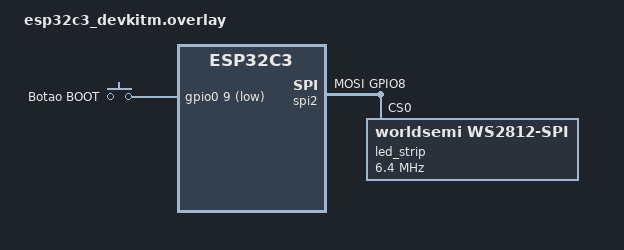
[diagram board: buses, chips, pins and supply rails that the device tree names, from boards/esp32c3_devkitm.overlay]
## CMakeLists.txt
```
cmake_minimum_required(VERSION 3.20.0)
find_package(Zephyr REQUIRED HINTS $ENV{ZEPHYR_BASE})
project(campainha_silenciosa)

target_sources(app PRIVATE
	src/main.c
	src/button.c
	src/ble_bell.c
	src/hist.c
)
```

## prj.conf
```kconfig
CONFIG_SETTINGS=y
CONFIG_NVS=y
CONFIG_FLASH=y
CONFIG_FLASH_MAP=y
CONFIG_SETTINGS_NVS=y
CONFIG_ZBUS=y
CONFIG_SHELL=y
CONFIG_LOG=y
CONFIG_GPIO=y
CONFIG_GPIO_SHELL=y


CONFIG_BT=y
CONFIG_BT_PERIPHERAL=y
CONFIG_BT_DEVICE_NAME="Campainha"
CONFIG_BT_MAX_CONN=1
CONFIG_BT_GATT_DYNAMIC_DB=y
CONFIG_INPUT=y
CONFIG_INPUT_GPIO_KEYS=y
CONFIG_ZBUS=y
CONFIG_LOG=y
CONFIG_MAIN_STACK_SIZE=4096
CONFIG_SYSTEM_WORKQUEUE_STACK_SIZE=4096

# --- LED WS2812 via driver oficial ---
CONFIG_SPI=y
CONFIG_LED_STRIP=y

# --- DESATIVAR ECONOMIA DE ENERGIA ---
CONFIG_PM=n
CONFIG_PM_DEVICE=n

# --- MELHORAR A ESTABILIDADE DO BLUETOOTH ---
# Aumenta o número de buffers para pacotes L2CAP
CONFIG_BT_L2CAP_TX_BUF_COUNT=5

# Aumenta o tempo limite de supervisão da conexão
# Unidade: 10ms. Ex: 500 = 5 segundos. (Máximo: 3200)
CONFIG_BT_PERIPHERAL_PREF_MIN_INT=24
CONFIG_BT_PERIPHERAL_PREF_MAX_INT=40
CONFIG_BT_PERIPHERAL_PREF_LATENCY=0
CONFIG_BT_PERIPHERAL_PREF_TIMEOUT=1000
```

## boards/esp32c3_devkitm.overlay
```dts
#include <zephyr/dt-bindings/gpio/gpio.h>
#include <zephyr/dt-bindings/input/input-event-codes.h>
#include <zephyr/dt-bindings/led/led.h>

&pinctrl {
	spim2_ws2812: spim2_ws2812 {
		group1 {
			pinmux = <SPIM2_MOSI_GPIO8>;
			output-low;
		};
	};
};

&spi2 {
	#address-cells = <1>;
	#size-cells = <0>;
	status = "okay";
	pinctrl-0 = <&spim2_ws2812>;
	pinctrl-names = "default";
	line-idle-low;

	led_strip: ws2812@0 {
		compatible = "worldsemi,ws2812-spi";
		reg = <0>;
		spi-max-frequency = <6400000>;
		chain-length = <1>;
		spi-one-frame = <0xf0>;
		spi-zero-frame = <0xc0>;
		color-mapping = <LED_COLOR_ID_GREEN
				 LED_COLOR_ID_RED
				 LED_COLOR_ID_BLUE>;
	};
};

/ {
	aliases {
		sw1 = &button0_node;
		led-strip = &led_strip;
	};

	buttons: buttons {
		compatible = "gpio-keys";
		status = "okay";

		button0_node: button_0 {
			gpios = <&gpio0 9 (GPIO_PULL_UP | GPIO_ACTIVE_LOW)>;
			zephyr,code = <INPUT_KEY_0>;
			label = "Botao BOOT";
		};
	};

	longpress: longpress {
		compatible = "zephyr,input-longpress";
		status = "okay";
		input = <&buttons>;
		input-codes = <INPUT_KEY_0>;
		short-codes = <INPUT_KEY_A>;
		long-codes  = <INPUT_KEY_B>;
		long-delay-ms = <800>;
	};
};
```

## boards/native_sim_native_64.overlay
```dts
/ {
	aliases {
		sw1 = &button1;
	};

	gpio_emul: gpio_emul {
		status = "okay";
		compatible = "zephyr,gpio-emul";
		gpio-controller;
		#gpio-cells = <2>;
	};

	buttons {
		compatible = "gpio-keys";
		button1: button_1 {
			gpios = <&gpio_emul 1 GPIO_ACTIVE_LOW>;
			label = "Botao extra";
		};
	};
};
```

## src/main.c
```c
/*
 * Copyright (c) 2026
 * SPDX-License-Identifier: Apache-2.0
 *
 * Aplicacao principal da campainha silenciosa.
 */

#include <errno.h>
#include <stdbool.h>
#include <stddef.h>
#include <stdint.h>
#include <stdlib.h>
#include <string.h>
#include <time.h>

#include <zephyr/kernel.h>
#include <zephyr/device.h>
#include <zephyr/drivers/led_strip.h>
#include <zephyr/logging/log.h>
#include <zephyr/settings/settings.h>
#include <zephyr/shell/shell.h>
#include <zephyr/sys/atomic.h>
#include <zephyr/zbus/zbus.h>

#include "hist.h"
#include "msgs.h"

LOG_MODULE_REGISTER(campainha, LOG_LEVEL_INF);

#define BLINK_URGENT_MS 200
#define BLINK_CALM_MS   800

/* Bits do flag de "o que salvar" no work deferido. */
#define SAVE_BIT_BELL 0
#define SAVE_BIT_DND  1
#define SAVE_BIT_HIST 2

/* Estado global. */
static bool bell_active;
static bool do_not_disturb;

/* Offset entre o relogio de parede (epoch em segundos) e o uptime local.
 * Fica em zero ate o usuario rodar `time set <epoch>` no shell.
 */
static int64_t epoch_offset_s;

/* Padrao do LED e nivel atual (piscando entre ligado/desligado). */
enum led_pattern {
	LED_PAT_OFF,
	LED_PAT_URGENT,
	LED_PAT_CALM,
};

static enum led_pattern led_pat;
static bool led_on_state;
static struct k_work_delayable blink_work;

/* Save deferido: listeners marcam bits e agendam; o handler faz o
 * settings_save_one no system workqueue, que tem pilha grande.
 * Isso evita estourar o stack do thread bt_tx_processor.
 */
static struct k_work save_work;
static atomic_t save_flags;

/* LED WS2812 declarado no devicetree via alias led-strip. */
static const struct device *const led_strip_dev = DEVICE_DT_GET(DT_ALIAS(led_strip));

/* Rotulos legiveis para logs. */
static const char *on_off_str(bool v)
{
	if (v) {
		return "ON";
	}
	return "OFF";
}

/* Padrao do LED em repouso: sempre apagado.
 * Em DND o LED permanece desligado (alertas sao ignorados);
 * fora de DND, sem alerta ativo, tambem fica apagado.
 */
static enum led_pattern idle_pattern(void)
{
	return LED_PAT_OFF;
}

/* Retorna o horario atual em segundos desde 1970 (epoch).
 * Se o usuario ainda nao ajustou o relogio, retorna apenas os
 * segundos desde o boot (o que sera mostrado como uma data de 1970).
 */
static int64_t now_epoch_s(void)
{
	return epoch_offset_s + (k_uptime_get() / 1000);
}

/* Escreve uma cor RGB no unico pixel da strip. */
static void led_hw(uint8_t r, uint8_t g, uint8_t b)
{
	struct led_rgb pixel = {
		.r = r,
		.g = g,
		.b = b,
	};

	led_strip_update_rgb(led_strip_dev, &pixel, 1);
}

/* Retorna o intervalo (em ms) do padrao ativo. */
static uint32_t pattern_interval_ms(enum led_pattern p)
{
	if (p == LED_PAT_URGENT) {
		return BLINK_URGENT_MS;
	}
	return BLINK_CALM_MS;
}

/* Alterna o LED e reagenda conforme o padrao ativo. */
static void blink_work_handler(struct k_work *work)
{
	uint8_t red;

	ARG_UNUSED(work);

	if (led_pat == LED_PAT_OFF) {
		led_hw(0, 0, 0);
		return;
	}

	led_on_state = !led_on_state;

	red = 0;
	if (led_on_state) {
		red = 255;
	}
	led_hw(red, 0, 0);

	k_work_reschedule(&blink_work, K_MSEC(pattern_interval_ms(led_pat)));
}

/* Troca o padrao do LED e dispara o handler agora. */
static void led_set_pattern(enum led_pattern p)
{
	led_pat = p;
	led_on_state = false;
	k_work_reschedule(&blink_work, K_NO_WAIT);
}

/* Handler do save deferido: consome os flags e faz as escritas NVS.
 * Roda no system workqueue (pilha CONFIG_SYSTEM_WORKQUEUE_STACK_SIZE).
 */
static void save_work_handler(struct k_work *work)
{
	atomic_val_t flags = atomic_clear(&save_flags);

	ARG_UNUSED(work);

	if (flags & BIT(SAVE_BIT_BELL)) {
		settings_save_one("campainha/bell", &bell_active,
				  sizeof(bell_active));
	}
	if (flags & BIT(SAVE_BIT_DND)) {
		settings_save_one("campainha/dnd", &do_not_disturb,
				  sizeof(do_not_disturb));
	}
	if (flags & BIT(SAVE_BIT_HIST)) {
		settings_save_one("campainha/hist", &hist_state,
				  sizeof(hist_state));
	}
}

/* Marcam o que deve ser salvo e delegam ao system workqueue. */
static void save_bell(void)
{
	atomic_set_bit(&save_flags, SAVE_BIT_BELL);
	k_work_submit(&save_work);
}

static void save_dnd(void)
{
	atomic_set_bit(&save_flags, SAVE_BIT_DND);
	k_work_submit(&save_work);
}

static void save_hist(void)
{
	atomic_set_bit(&save_flags, SAVE_BIT_HIST);
	k_work_submit(&save_work);
}

/* Handler do settings: restaura bell, dnd e historico do storage. */
static int campainha_settings_set(const char *name, size_t len,
				  settings_read_cb read_cb, void *cb_arg)
{
	if (settings_name_steq(name, "bell", NULL) && len == sizeof(bell_active)) {
		read_cb(cb_arg, &bell_active, sizeof(bell_active));
		return 0;
	}
	if (settings_name_steq(name, "dnd", NULL) && len == sizeof(do_not_disturb)) {
		read_cb(cb_arg, &do_not_disturb, sizeof(do_not_disturb));
		return 0;
	}
	if (settings_name_steq(name, "hist", NULL) && len == sizeof(hist_state)) {
		read_cb(cb_arg, &hist_state, sizeof(hist_state));
		return 0;
	}
	return -ENOENT;
}

SETTINGS_STATIC_HANDLER_DEFINE(campainha, "campainha", NULL,
			       campainha_settings_set, NULL, NULL);

/* Canal ZBUS: toque da campainha (BLE ou shell). */
ZBUS_CHAN_DEFINE(ring_chan, struct ring_msg, NULL, NULL,
		 ZBUS_OBSERVERS_EMPTY, ZBUS_MSG_INIT(.pressed = false));

/* Policy: em DND registra ignorado; senao acende LED urgente. */
static void ring_listener_cb(const struct zbus_channel *chan)
{
	const struct ring_msg *msg = zbus_chan_const_msg(chan);

	if (!msg->pressed) {
		return;
	}

	if (do_not_disturb) {
		LOG_INF("Toque ignorado (DND ativo)");
		hist_add(now_epoch_s(), true);
		save_hist();
		return;
	}

	bell_active = true;
	LOG_INF("Campainha acionada, LED URGENTE");
	led_set_pattern(LED_PAT_URGENT);
	hist_add(now_epoch_s(), false);
	save_hist();
	save_bell();
}

ZBUS_LISTENER_DEFINE(ring_listener, ring_listener_cb);
ZBUS_CHAN_ADD_OBS(ring_chan, ring_listener, 0);

/* Toque longo alterna DND; curto silencia o alerta ativo. */
static void btn_listener_cb(const struct zbus_channel *chan)
{
	const struct btn_evt *evt = zbus_chan_const_msg(chan);

	if (evt->long_press) {
		do_not_disturb = !do_not_disturb;
		LOG_INF("DND: %s", on_off_str(do_not_disturb));
		led_set_pattern(idle_pattern());
		save_dnd();
		return;
	}

	if (bell_active) {
		LOG_INF("Silenciando alerta");
		bell_active = false;
		led_set_pattern(idle_pattern());
		save_bell();
	}
}

ZBUS_LISTENER_DEFINE(main_btn_listener, btn_listener_cb);
ZBUS_CHAN_ADD_OBS(btn_chan, main_btn_listener, 0);

/* Shell: publica um toque simulado no ring_chan. */
static int cmd_ring(const struct shell *sh, size_t argc, char **argv)
{
	struct ring_msg msg = {
		.pressed = true,
	};

	ARG_UNUSED(argc);
	ARG_UNUSED(argv);

	shell_print(sh, "Publicando toque...");
	return zbus_chan_pub(&ring_chan, &msg, K_MSEC(100));
}

/* Shell: apaga o LED e limpa o alerta. */
static int cmd_off(const struct shell *sh, size_t argc, char **argv)
{
	ARG_UNUSED(argc);
	ARG_UNUSED(argv);

	bell_active = false;
	led_set_pattern(idle_pattern());
	save_bell();
	shell_print(sh, "Alerta limpo");
	return 0;
}

/* Shell: "mode" mostra estado; "mode dnd" alterna DND. */
static int cmd_mode(const struct shell *sh, size_t argc, char **argv)
{
	if (argc >= 2 && strcmp(argv[1], "dnd") == 0) {
		do_not_disturb = !do_not_disturb;
		led_set_pattern(idle_pattern());
		save_dnd();
	}
	shell_print(sh, "DND=%s bell=%s",
		    on_off_str(do_not_disturb),
		    on_off_str(bell_active));
	return 0;
}

/* Shell: `time` mostra hora atual, `time set <epoch>` ajusta relogio.
 * Uso tipico no PC: date +%s (retorna o epoch em segundos UTC).
 */
static int cmd_time(const struct shell *sh, size_t argc, char **argv)
{
	time_t now;
	struct tm cal;
	char buf[32];

	if (argc >= 3 && strcmp(argv[1], "set") == 0) {
		int64_t epoch = strtoll(argv[2], NULL, 10);

		epoch_offset_s = epoch - (k_uptime_get() / 1000);
		shell_print(sh, "Horario ajustado");
		return 0;
	}

	now = (time_t)now_epoch_s();
	gmtime_r(&now, &cal);
	strftime(buf, sizeof(buf), "%Y-%m-%d %H:%M:%S UTC", &cal);
	shell_print(sh, "Agora: %s", buf);
	return 0;
}

/* Rotulo legivel para uma entrada do historico. */
static const char *hist_label(const struct hist_entry *e)
{
	if (e->ignored) {
		return "ignorado";
	}
	return "alertado";
}

/* Shell: lista o historico do mais antigo (0) para o mais recente. */
static int cmd_hist(const struct shell *sh, size_t argc, char **argv)
{
	ARG_UNUSED(argc);
	ARG_UNUSED(argv);

	if (hist_len() == 0) {
		shell_print(sh, "Historico vazio");
		return 0;
	}

	for (size_t i = 0; i < hist_len(); i++) {
		const struct hist_entry *e = hist_get(i);
		time_t t = (time_t)e->ms;
		struct tm cal;
		char buf[32];

		gmtime_r(&t, &cal);
		strftime(buf, sizeof(buf), "%Y-%m-%d %H:%M:%S UTC", &cal);
		shell_print(sh, "[%u] %s %s",
			    (unsigned int)i, buf, hist_label(e));
	}
	return 0;
}

SHELL_CMD_REGISTER(ring, NULL, "Simula toque BLE",               cmd_ring);
SHELL_CMD_REGISTER(off,  NULL, "Apaga LED e limpa alerta",       cmd_off);
SHELL_CMD_REGISTER(mode, NULL, "mode [dnd]: mostra/alterna DND", cmd_mode);
SHELL_CMD_REGISTER(hist, NULL, "Lista o historico",              cmd_hist);
SHELL_CMD_REGISTER(time, NULL, "time | time set <epoch>",        cmd_time);

/* Restaura o padrao do LED depois de carregar o estado do settings.
 * Se havia um alerta ativo (bell) antes do reset, retoma o padrao urgente.
 * Em qualquer outro caso (inclusive DND) o LED fica apagado.
 */
static void restore_led_pattern(void)
{
	if (bell_active) {
		led_set_pattern(LED_PAT_URGENT);
	}
}

/* Inicializa LED, carrega settings e restaura padrao coerente. */
int main(void)
{
	LOG_INF("Campainha silenciosa iniciada");

	if (!device_is_ready(led_strip_dev)) {
		LOG_ERR("LED strip nao esta pronto");
		return -ENODEV;
	}

	k_work_init_delayable(&blink_work, blink_work_handler);
	k_work_init(&save_work, save_work_handler);
	led_hw(0, 0, 0);

	settings_subsys_init();
	settings_load();

	LOG_INF("Estado: bell=%d dnd=%d hist=%u",
		bell_active, do_not_disturb, hist_state.count);

	restore_led_pattern();

	return 0;
}
```

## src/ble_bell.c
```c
/*
 * Copyright (c) 2026
 * SPDX-License-Identifier: Apache-2.0
 *
 * Servico GATT da campainha silenciosa.
 *
 * Expoe uma caracteristica de escrita que, ao ser acionada por um
 * cliente BLE, publica uma mensagem de toque no canal ZBUS ring_chan.
 */

#include <stdbool.h>
#include <stddef.h>
#include <stdint.h>

#include <zephyr/bluetooth/bluetooth.h>
#include <zephyr/bluetooth/conn.h>
#include <zephyr/bluetooth/gatt.h>
#include <zephyr/bluetooth/uuid.h>
#include <zephyr/kernel.h>
#include <zephyr/logging/log.h>
#include <zephyr/sys/util.h>
#include <zephyr/zbus/zbus.h>

#include "msgs.h"

LOG_MODULE_REGISTER(ble_bell, LOG_LEVEL_INF);

#define DEVICE_NAME     "Campainha"
#define DEVICE_NAME_LEN (sizeof(DEVICE_NAME) - 1)

#define RING_PUB_TIMEOUT K_MSEC(100)

#define BT_UUID_BELL_SVC_VAL \
	BT_UUID_128_ENCODE(0x12345678, 0x1234, 0x5678, 0x1234, 0x56789abcdef0)
#define BT_UUID_BELL_RING_VAL \
	BT_UUID_128_ENCODE(0x12345678, 0x1234, 0x5678, 0x1234, 0x56789abcdef1)

static struct bt_uuid_128 bell_svc_uuid = BT_UUID_INIT_128(BT_UUID_BELL_SVC_VAL);
static struct bt_uuid_128 bell_ring_uuid = BT_UUID_INIT_128(BT_UUID_BELL_RING_VAL);

/* Callback do GATT: qualquer escrita nesse atributo gera um toque no zbus. */
static ssize_t on_ring_write(struct bt_conn *conn,
			     const struct bt_gatt_attr *attr,
			     const void *buf, uint16_t len,
			     uint16_t offset, uint8_t flags)
{
	struct ring_msg msg = { .pressed = true };
	int err;

	ARG_UNUSED(conn);
	ARG_UNUSED(attr);
	ARG_UNUSED(buf);
	ARG_UNUSED(offset);
	ARG_UNUSED(flags);

	LOG_INF("BLE: escrita recebida (%u bytes) -> publicando toque", len);

	err = zbus_chan_pub(&ring_chan, &msg, RING_PUB_TIMEOUT);
	if (err) {
		LOG_ERR("Falha ao publicar toque (err %d)", err);
	}

	return len;
}

BT_GATT_SERVICE_DEFINE(bell_svc,
	BT_GATT_PRIMARY_SERVICE(&bell_svc_uuid),
	BT_GATT_CHARACTERISTIC(&bell_ring_uuid.uuid,
			       BT_GATT_CHRC_WRITE,
			       BT_GATT_PERM_WRITE,
			       NULL, on_ring_write, NULL),
);

static const struct bt_data ad[] = {
	BT_DATA_BYTES(BT_DATA_FLAGS, (BT_LE_AD_GENERAL | BT_LE_AD_NO_BREDR)),
	BT_DATA(BT_DATA_NAME_COMPLETE, DEVICE_NAME, DEVICE_NAME_LEN),
};

static const struct bt_data sd[] = {
	BT_DATA_BYTES(BT_DATA_UUID128_ALL, BT_UUID_BELL_SVC_VAL),
};

/* Log de conexao aceita. */
static void on_connected(struct bt_conn *conn, uint8_t err)
{
	ARG_UNUSED(conn);

	if (err) {
		LOG_ERR("Falha ao conectar (err %u)", err);
		return;
	}

	LOG_INF("BLE: cliente conectado");
}

/* Ao desconectar, volta a anunciar para aceitar nova conexao. */
static void on_disconnected(struct bt_conn *conn, uint8_t reason)
{
	int err;

	ARG_UNUSED(conn);

	LOG_INF("BLE: cliente desconectado (reason %u), re-anunciando", reason);

	err = bt_le_adv_start(BT_LE_ADV_CONN_FAST_1,
			      ad, ARRAY_SIZE(ad),
			      sd, ARRAY_SIZE(sd));
	if (err) {
		LOG_ERR("Falha ao reiniciar advertising (err %d)", err);
	}
}

BT_CONN_CB_DEFINE(conn_callbacks) = {
	.connected = on_connected,
	.disconnected = on_disconnected,
};

/* Chamado quando o stack BT termina de subir: inicia o advertising. */
static void bt_ready(int err)
{
	if (err) {
		LOG_ERR("Bluetooth init falhou (err %d)", err);
		return;
	}

	LOG_INF("Bluetooth inicializado");

	err = bt_le_adv_start(BT_LE_ADV_CONN_FAST_1,
			      ad, ARRAY_SIZE(ad),
			      sd, ARRAY_SIZE(sd));
	if (err) {
		LOG_ERR("Advertising falhou (err %d)", err);
		return;
	}

	LOG_INF("Advertising iniciado como \"" DEVICE_NAME "\"");
}

/* Inicializa o subsistema Bluetooth de forma assincrona. */
static int ble_bell_init(void)
{
	int err;

	err = bt_enable(bt_ready);
	if (err) {
		LOG_ERR("bt_enable falhou (err %d)", err);
	}

	return err;
}

SYS_INIT(ble_bell_init, APPLICATION, 90);
```

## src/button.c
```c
/*
 * Driver do botao usando Input Subsystem + input-longpress.
 * A classificacao curto/longo e feita pelo driver input-longpress
 * (via devicetree). Aqui so recebemos o codigo ja classificado e
 * publicamos no zbus.
 */
#include <zephyr/device.h>
#include <zephyr/input/input.h>
#include <zephyr/kernel.h>
#include <zephyr/logging/log.h>
#include <zephyr/zbus/zbus.h>
#include <zephyr/dt-bindings/input/input-event-codes.h>
#include "msgs.h"

LOG_MODULE_REGISTER(button, LOG_LEVEL_INF);

ZBUS_CHAN_DEFINE(btn_chan, struct btn_evt, NULL, NULL,
		 ZBUS_OBSERVERS_EMPTY, ZBUS_MSG_INIT(0));

/* Node do input-longpress: e ele quem emite os codigos classificados. */
#define LONGPRESS_NODE DT_NODELABEL(longpress)

static void input_cb(struct input_event *evt, void *user_data)
{
	ARG_UNUSED(user_data);

	
	if (evt->type != INPUT_EV_KEY || evt->value != 0) {
		return;
	}

	struct btn_evt out = {0};

	switch (evt->code) 
	{
		case INPUT_KEY_A:
			out.long_press = false;
			LOG_INF("Toque CURTO");
			break;
		case INPUT_KEY_B:
			out.long_press = true;
			LOG_INF("Toque LONGO");
			break;
		default:
			return;
	}

	zbus_chan_pub(&btn_chan, &out, K_NO_WAIT);
}

INPUT_CALLBACK_DEFINE(DEVICE_DT_GET(LONGPRESS_NODE), input_cb, NULL);
```

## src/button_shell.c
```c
/*
 * Copyright (c) 2026
 * SPDX-License-Identifier: Apache-2.0
 */

#include <zephyr/kernel.h>
#include <zephyr/drivers/gpio.h>
#include <zephyr/drivers/gpio/gpio_emul.h>
#include <zephyr/shell/shell.h>

/* Mesmo alias do button.c */
static const struct gpio_dt_spec sw = GPIO_DT_SPEC_GET(DT_ALIAS(sw1), gpios);

/* Comando: button press [ms]
 * Injeta uma borda de descida, espera ms, injeta borda de subida.
 * O on_edge() do button.c detecta exatamente como se fosse hardware.
 */
static int cmd_press(const struct shell *sh, size_t argc, char **argv)
{
	uint32_t ms = 100;

	if (argc > 1) {
		ms = strtoul(argv[1], NULL, 10);
	}

	gpio_emul_input_set(sw.port, sw.pin, 0);  /* aperta (ACTIVE_LOW) */
	k_msleep(ms);
	gpio_emul_input_set(sw.port, sw.pin, 1);  /* solta */

	shell_print(sh, "toque simulado de %u ms", ms);
	return 0;
}

SHELL_STATIC_SUBCMD_SET_CREATE(sub_button,
	SHELL_CMD_ARG(press, NULL, "Simula toque [ms]", cmd_press, 1, 1),
	SHELL_SUBCMD_SET_END
);
SHELL_CMD_REGISTER(button, &sub_button, "Botao da campainha", NULL);
```

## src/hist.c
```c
/*
 * Copyright (c) 2026
 * SPDX-License-Identifier: Apache-2.0
 *
 * Implementacao do buffer circular do historico.
 */

#include "hist.h"

/* Estado global; exposto para permitir persistir via settings. */
struct hist_state hist_state;

/* Insere um toque na proxima posicao livre e avanca o head. */
void hist_add(int64_t ms, bool ignored)
{
	hist_state.entries[hist_state.head].ms = ms;
	hist_state.entries[hist_state.head].ignored = ignored;
	hist_state.head = (hist_state.head + 1) % HIST_SIZE;
	if (hist_state.count < HIST_SIZE) {
		hist_state.count++;
	}
}

/* Zera tudo: head, count e as entradas nao precisam ser limpas
 * porque count controla o que e' valido.
 */
void hist_clear(void)
{
	hist_state.head = 0;
	hist_state.count = 0;
}

/* Retorna quantas entradas validas existem. */
size_t hist_len(void)
{
	return hist_state.count;
}

/* Traduz o indice cronologico i para a posicao real no buffer. */
const struct hist_entry *hist_get(size_t i)
{
	size_t start;

	if (i >= hist_state.count) {
		return NULL;
	}
	/* Se ainda nao encheu, o inicio e' 0. Se encheu, e' o head. */
	start = (hist_state.count == HIST_SIZE) ? hist_state.head : 0;
	return &hist_state.entries[(start + i) % HIST_SIZE];
}
```

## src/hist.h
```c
/*
 * Copyright (c) 2026
 * SPDX-License-Identifier: Apache-2.0
 *
 * Historico circular de toques da campainha. Testavel sem hardware.
 */

#ifndef APP_HIST_H_
#define APP_HIST_H_

#include <stdbool.h>
#include <stddef.h>
#include <stdint.h>

#define HIST_SIZE 8

struct hist_entry {
	int64_t ms;     /* uptime em ms no momento do toque */
	bool ignored;   /* true se foi ignorado por modo DND */
};

/* Buffer circular exposto para permitir persistencia via settings. */
struct hist_state {
	struct hist_entry entries[HIST_SIZE];
	uint16_t head;
	uint16_t count;
};

extern struct hist_state hist_state;

/* Insere um toque no fim do historico, sobrescrevendo o mais antigo. */
void hist_add(int64_t ms, bool ignored);

/* Reseta o buffer para zero entradas. */
void hist_clear(void);

/* Numero de entradas validas (0..HIST_SIZE). */
size_t hist_len(void);

/* Acessa a entrada i em ordem cronologica (0 = mais antiga). */
const struct hist_entry *hist_get(size_t i);

#endif /* APP_HIST_H_ */
```

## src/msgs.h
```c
/*
 * Copyright (c) 2026
 * SPDX-License-Identifier: Apache-2.0
 *
 * Structs de mensagens e canais zbus compartilhados entre modulos.
 */

#ifndef APP_MSGS_H_
#define APP_MSGS_H_

#include <stdbool.h>
#include <stdint.h>

#include <zephyr/zbus/zbus.h>

/* Mensagem publicada quando o app BLE ou o shell dispara um toque. */
struct ring_msg {
	bool pressed;
};

/* Mensagem publicada pelo botao fisico apos debounce. */
struct btn_evt {
	bool long_press;
	int64_t ms;
};

/* Canais definidos em main.c (ring_chan) e button.c (btn_chan). */
ZBUS_CHAN_DECLARE(ring_chan);
ZBUS_CHAN_DECLARE(btn_chan);

#endif /* APP_MSGS_H_ */
```
